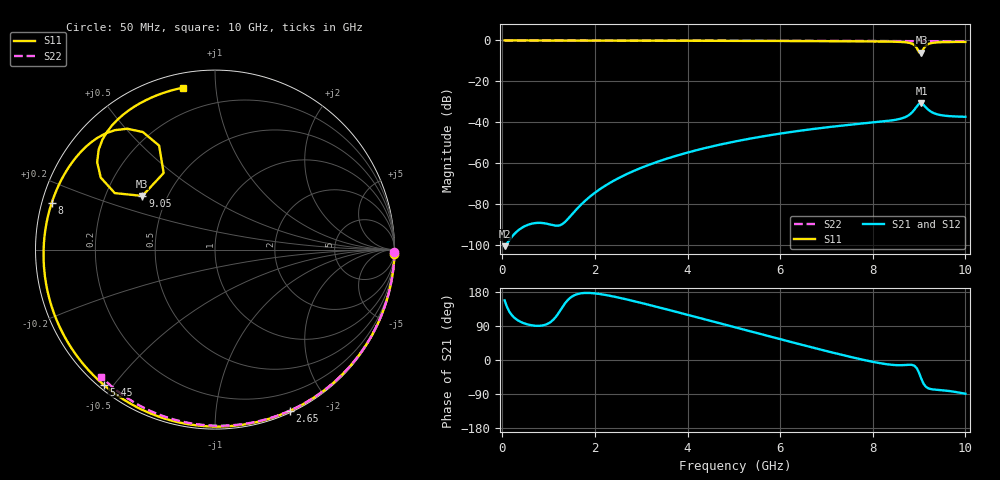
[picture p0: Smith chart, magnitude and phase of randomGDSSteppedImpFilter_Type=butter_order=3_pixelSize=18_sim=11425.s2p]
! freq	dB(S11)	phase(S11)	dB(S12)	phase(S12)
!  dB(S21)	phase(S21)	dB(S22)	phase(S22)
!S-par simulation data
#  GHz  S  DB  R 50
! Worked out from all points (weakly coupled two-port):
!   200 points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, 50 MHz to 10 GHz, reference 50 ohm
!   highest |S21| = -30.68 dB at 9.05 GHz (marker M1); lowest = -100.4 dB at 50 MHz (marker M2)
!   lowest |S11| = -6.0 dB at 9.05 GHz (marker M3), VSWR 3.03, Z = 18.1 + j14.5 ohm
!   |S11| at or under -10 dB: nowhere
!   |S22| runs from -0.4 to 0.0 dB; largest |S21 - S12| = 0
!   S11 on the Smith chart (normalised r, x): 50 MHz: 0, -90; 2.65 GHz: 0.02, -1.57; 5.45 GHz: 0.01, -0.47; 8 GHz: 0.03, +0.14; 9.05 GHz: 0.36, +0.29; 10 GHz: 0.07, +0.82
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0.05  -0.00 -1.3  -100.43 157.3  -100.43 157.3  -0.00 -0.8
0.85  -0.03 -21.4  -89.09 90.8  -89.09 90.8  -0.02 -12.9
1.75  -0.05 -43.5  -79.08 176.7  -79.08 176.7  -0.03 -26.3
2.15  -0.07 -53.2  -71.97 173.3  -71.97 173.3  -0.04 -32.1
2.65  -0.08 -65.1  -65.64 160.9  -65.64 160.9  -0.05 -39.4
3.4  -0.11 -82.6  -58.84 138.3  -58.84 138.3  -0.07 -50.0
4.2  -0.14 -101.0  -53.53 112.9  -53.53 112.9  -0.09 -61.1
5.05  -0.19 -120.3  -49.21 85.4  -49.21 85.4  -0.11 -72.4
5.45  -0.21 -129.5  -47.52 72.6  -47.52 72.6  -0.12 -77.6
6.7  -0.31 -159.5  -43.26 32.9  -43.26 32.9  -0.18 -93.3
7.4  -0.39 -178.0  -41.42 11.6  -41.42 11.6  -0.22 -101.8
8  -0.48 164.2  -40.05 -4.8  -40.05 -4.8  -0.26 -108.9
8.35  -0.57 152.2  -39.20 -11.9  -39.20 -11.9  -0.29 -113.0
8.65  -0.79 139.2  -37.87 -13.6  -37.87 -13.6  -0.31 -116.4
8.85  -1.59 126.0  -35.10 -12.9  -35.10 -12.9  -0.33 -118.7
8.95  -3.64 118.2  -32.21 -21.6  -32.21 -21.6  -0.34 -119.9
9  -5.79 123.9  -30.91 -34.0  -30.91 -34.0  -0.34 -120.4
9.05  -5.96 143.5  -30.68 -50.1  -30.68 -50.1  -0.35 -121.0
9.15  -2.47 147.8  -32.76 -71.0  -32.76 -71.0  -0.35 -122.2
9.25  -1.36 139.3  -34.67 -76.7  -34.67 -76.7  -0.36 -123.3
9.55  -0.80 121.7  -36.73 -80.3  -36.73 -80.3  -0.40 -126.7
10  -0.73 101.2  -37.27 -89.0  -37.27 -89.0  -0.44 -131.8
